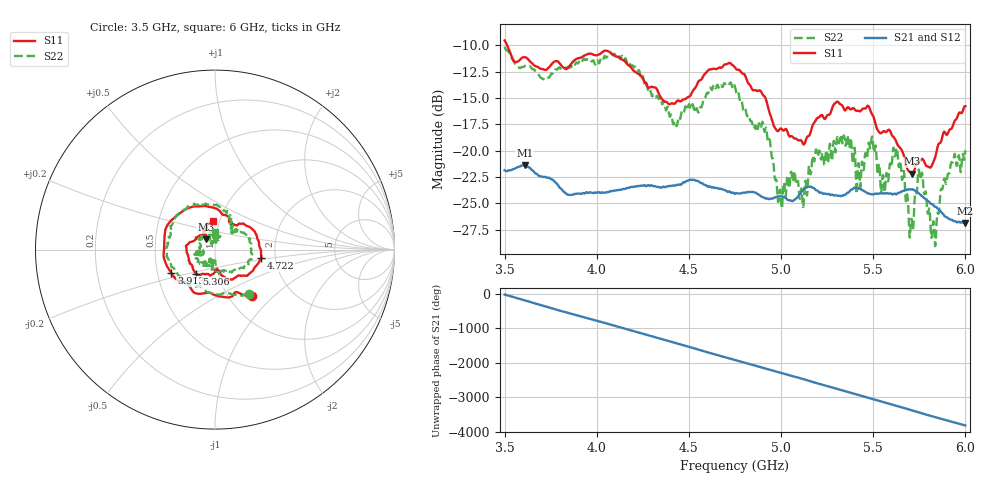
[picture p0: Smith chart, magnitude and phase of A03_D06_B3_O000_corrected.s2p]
! Created with skrf 1.9.0 (http://scikit-rf.org).
# Hz S RI R 50.0
!freq ReS11 ImS11 ReS21 ImS21 ReS12 ImS12 ReS22 ImS22
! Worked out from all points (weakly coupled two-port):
!   1601 points, 3.5 GHz to 6 GHz, reference 50 ohm
!   highest |S21| = -21.39 dB at 3.609 GHz (marker M1); lowest = -26.9 dB at 5.997 GHz (marker M2)
!   lowest |S11| = -22.2 dB at 5.711 GHz (marker M3), VSWR 1.17, Z = 44.8 + j5.22 ohm
!   |S11| at or under -10 dB: 3.514 GHz to end of sweep
!   |S22| runs from -29.1 to -10.1 dB; largest |S21 - S12| = 0.00093
!   S11 on the Smith chart (normalised r, x): 3.5 GHz: 1.28, -0.75; 3.913 GHz: 0.59, -0.17; 4.722 GHz: 1.68, -0.17; 5.306 GHz: 0.78, -0.22; 6 GHz: 0.92, +0.31
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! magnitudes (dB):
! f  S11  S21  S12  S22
! 3.5 GHz  -9.5  -21.9  -21.8  -10.1
! 3.609 GHz  -11.1  -21.4  -21.4  -12.0
! 3.913 GHz  -11.2  -24.1  -24.1  -11.5
! 3.917 GHz  -11.2  -24.1  -24.1  -11.6
! 4.334 GHz  -14.5  -23.5  -23.4  -15.1
! 4.427 GHz  -15.5  -23.3  -23.3  -17.3
! 4.722 GHz  -11.7  -23.9  -23.9  -13.6
! 4.75 GHz  -12.1  -24.1  -24.0  -13.9
! 4.911 GHz  -14.9  -24.5  -24.4  -18.2
! 4.994 GHz  -17.9  -24.4  -24.3  -23.8
! 5.167 GHz  -17.8  -23.5  -23.4  -21.1
! 5.306 GHz  -15.3  -24.3  -24.2  -18.7
! 5.419 GHz  -16.2  -23.6  -23.6  -21.2
! 5.486 GHz  -16.3  -24.1  -24.1  -19.7
! 5.584 GHz  -18.0  -24.1  -24.0  -22.3
! 5.622 GHz  -19.0  -24.1  -24.1  -20.3
! 5.711 GHz  -22.2  -23.7  -23.6  -26.8
! 5.753 GHz  -21.0  -24.2  -24.1  -22.5
! 5.828 GHz  -21.0  -25.2  -25.2  -26.9
! 5.878 GHz  -18.4  -26.0  -26.0  -23.4
! 5.997 GHz  -15.8  -26.9  -26.8  -20.6
! 6 GHz  -15.8  -26.9  -26.8  -20.0
